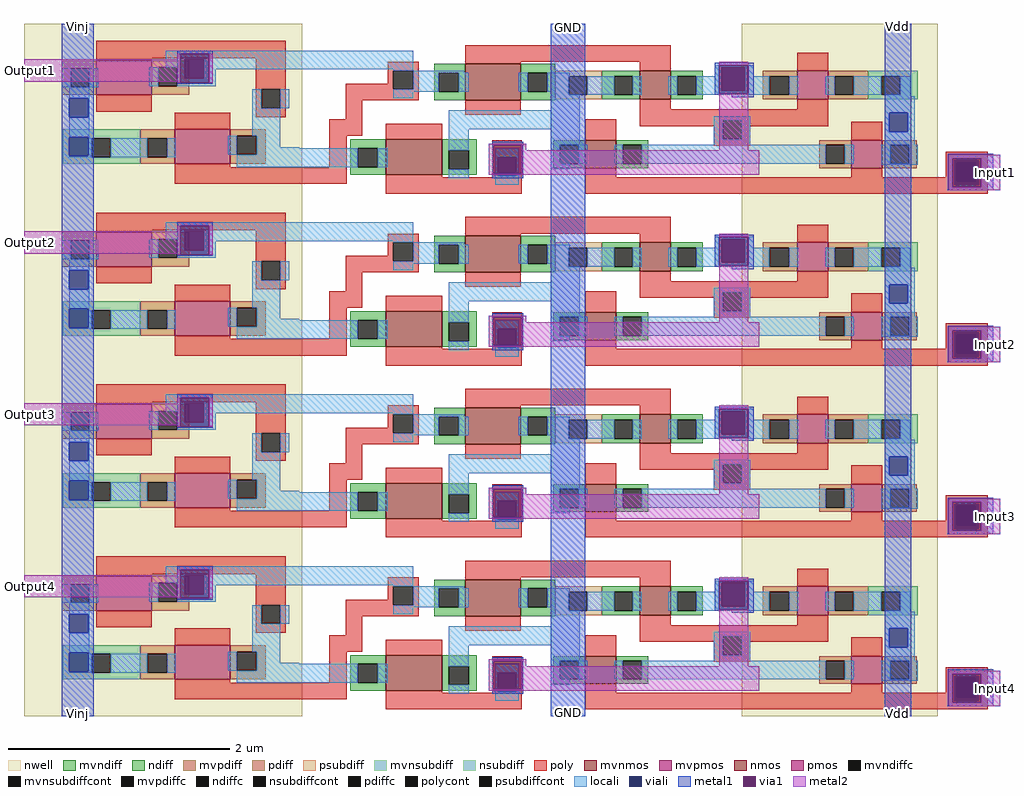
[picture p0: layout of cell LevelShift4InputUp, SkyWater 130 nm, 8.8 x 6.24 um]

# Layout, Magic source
magic
tech sky130A
<< metal1 >>
rect 4 517 33 522
rect 445 515 476 522
rect 746 517 770 522
rect 4 -102 33 -97
rect 445 -102 476 -96
rect 746 -102 770 -97
<< metal2 >>
rect -30 470 -19 490
rect 841 372 850 404
rect -30 315 -19 335
rect 841 217 850 249
rect -30 160 -19 180
rect 841 62 850 94
rect -30 5 -19 25
rect 841 -93 850 -61
use StepUpDigital  StepUpDigital_2
transform 1 0 -49 0 1 403
box 19 -40 899 119
use StepUpDigital  StepUpDigital_1
transform 1 0 -49 0 1 248
box 19 -40 899 119
use StepUpDigital  StepUpDigital_0
transform 1 0 -49 0 1 93
box 19 -40 899 119
use StepUpDigital  StepUpDigital_3
transform 1 0 -49 0 1 -62
box 19 -40 899 119
<< labels >>
rlabel metal2 841 372 850 404 0 Input1
port 1 nsew
rlabel metal2 841 217 850 249 0 Input2
port 2 nsew
rlabel metal2 841 62 850 94 0 Input3
port 3 nsew
rlabel metal2 841 -93 850 -61 0 Input4
port 4 nsew
rlabel metal1 746 517 770 522 0 Vdd
port 5 nsew
rlabel metal1 746 -102 770 -97 0 Vdd
port 5 nsew
rlabel metal1 4 517 33 522 0 Vinj
port 6 nsew
rlabel metal1 4 -102 33 -97 0 Vinj
port 6 nsew
rlabel metal2 -30 470 -19 490 0 Output1
port 7 nsew
rlabel metal2 -30 315 -19 335 0 Output2
port 8 nsew
rlabel metal2 -30 160 -19 180 0 Output3
port 9 nsew
rlabel metal2 -30 5 -19 25 0 Output4
port 10 nsew
rlabel metal1 445 515 476 522 0 GND
port 11 nsew
rlabel metal1 445 -102 476 -96 0 GND
port 11 nsew
<< end >>

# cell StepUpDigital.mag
magic
tech sky130A
<< nwell >>
rect 19 -40 270 119
<< mvpmos >>
rect 84 55 134 86
rect 155 -7 205 24
<< mvpdiff >>
rect 53 79 84 86
rect 53 62 61 79
rect 78 62 84 79
rect 53 55 84 62
rect 134 80 168 86
rect 134 63 140 80
rect 157 63 168 80
rect 134 55 168 63
rect 124 16 155 24
rect 124 -1 130 16
rect 148 -1 155 16
rect 124 -7 155 -1
rect 205 18 237 24
rect 205 1 211 18
rect 229 1 237 18
rect 205 -7 237 1
<< mvpdiffc >>
rect 61 62 78 79
rect 140 63 157 80
rect 130 -1 148 16
rect 211 1 229 18
<< mvnsubdiff >>
rect 54 16 124 24
rect 54 -1 80 16
rect 97 -1 124 16
rect 54 -7 124 -1
<< mvnsubdiffcont >>
rect 80 -1 97 16
<< poly >>
rect 84 88 255 104
rect 84 86 134 88
rect 228 60 255 88
rect 84 40 134 55
rect 228 43 233 60
rect 250 43 255 60
rect 155 24 205 39
rect 228 35 255 43
rect 155 -10 205 -7
rect 155 -25 285 -10
<< polycont >>
rect 233 43 250 60
<< locali >>
rect 147 87 370 95
rect 147 80 164 87
rect 53 62 61 79
rect 78 62 86 79
rect 132 63 140 80
rect 157 70 164 80
rect 181 78 370 87
rect 181 70 192 78
rect 157 63 192 70
rect 60 52 78 62
rect 77 35 78 52
rect 60 17 78 35
rect 225 43 233 60
rect 250 43 258 60
rect 225 18 250 43
rect 77 16 78 17
rect 77 0 80 16
rect 60 -1 80 0
rect 97 -1 130 16
rect 148 -1 156 16
rect 203 1 211 18
rect 229 8 250 18
rect 229 7 267 8
rect 229 1 285 7
rect 211 -10 285 1
<< viali >>
rect 164 70 181 87
rect 60 35 77 52
rect 60 0 77 17
<< metal1 >>
rect 53 52 82 119
rect 157 92 189 95
rect 157 66 160 92
rect 186 66 189 92
rect 157 65 189 66
rect 53 35 60 52
rect 77 35 82 52
rect 53 17 82 35
rect 53 0 60 17
rect 77 0 82 17
rect 53 -40 82 0
<< via1 >>
rect 160 87 186 92
rect 160 70 164 87
rect 164 70 181 87
rect 181 70 186 87
rect 160 66 186 70
<< metal2 >>
rect 157 87 160 92
rect 26 67 160 87
rect 157 66 160 67
rect 186 66 189 92
use StepUpDigitalPart1  StepUpDigitalPart1_0
transform 1 0 7 0 1 0
box 278 -40 892 119
<< labels >>
rlabel metal2 26 67 33 87 0 Output
rlabel metal1 53 111 82 119 0 Vinj
rlabel metal1 53 -40 82 -32 0 Vinj
<< end >>

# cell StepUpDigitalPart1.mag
magic
tech sky130A
<< nwell >>
rect 659 -40 836 119
<< nmos >>
rect 567 51 595 77
rect 518 -11 546 14
<< pmos >>
rect 709 51 737 77
rect 758 -11 786 14
<< mvnmos >>
rect 410 50 460 83
rect 338 -17 389 15
<< ndiff >>
rect 533 72 567 77
rect 533 55 544 72
rect 561 55 567 72
rect 533 51 567 55
rect 595 72 624 77
rect 595 55 601 72
rect 618 55 624 72
rect 595 51 624 55
rect 489 10 518 14
rect 489 -7 495 10
rect 512 -7 518 10
rect 489 -11 518 -7
rect 546 10 575 14
rect 546 -7 552 10
rect 569 -7 575 10
rect 546 -11 575 -7
<< pdiff >>
rect 678 72 709 77
rect 678 55 684 72
rect 702 55 709 72
rect 678 51 709 55
rect 737 72 773 77
rect 737 55 743 72
rect 760 55 773 72
rect 737 51 773 55
rect 729 10 758 14
rect 729 -7 735 10
rect 752 -7 758 10
rect 729 -11 758 -7
rect 786 10 817 14
rect 786 -7 793 10
rect 810 -7 817 10
rect 786 -11 817 -7
<< mvndiff >>
rect 382 75 410 83
rect 382 58 386 75
rect 404 58 410 75
rect 382 50 410 58
rect 460 75 491 83
rect 460 58 466 75
rect 484 58 491 75
rect 460 50 491 58
rect 306 7 338 15
rect 306 -10 313 7
rect 331 -10 338 7
rect 306 -17 338 -10
rect 389 5 420 15
rect 389 -12 395 5
rect 413 -12 420 5
rect 389 -17 420 -12
<< ndiffc >>
rect 544 55 561 72
rect 601 55 618 72
rect 495 -7 512 10
rect 552 -7 569 10
<< pdiffc >>
rect 684 55 702 72
rect 743 55 760 72
rect 735 -7 752 10
rect 793 -7 810 10
<< mvndiffc >>
rect 386 58 404 75
rect 466 58 484 75
rect 313 -10 331 7
rect 395 -12 413 5
<< psubdiff >>
rect 491 72 533 77
rect 491 55 503 72
rect 520 55 533 72
rect 491 51 533 55
<< nsubdiff >>
rect 773 72 818 77
rect 773 55 785 72
rect 802 55 818 72
rect 773 51 818 55
<< psubdiffcont >>
rect 503 55 520 72
<< nsubdiffcont >>
rect 785 55 802 72
<< poly >>
rect 410 85 595 100
rect 340 77 368 85
rect 410 83 460 85
rect 340 65 345 77
rect 302 60 345 65
rect 363 60 368 77
rect 302 50 368 60
rect 567 77 595 85
rect 709 77 737 93
rect 302 33 317 50
rect 410 37 460 50
rect 567 42 595 51
rect 709 42 737 51
rect 287 18 317 33
rect 287 -10 303 18
rect 338 15 389 29
rect 278 -25 303 -10
rect 518 14 546 33
rect 567 32 737 42
rect 567 27 642 32
rect 634 15 642 27
rect 659 27 737 32
rect 659 15 667 27
rect 434 -1 461 14
rect 338 -19 389 -17
rect 434 -18 439 -1
rect 456 -18 461 -1
rect 634 9 667 15
rect 758 14 786 31
rect 843 -6 881 4
rect 434 -19 461 -18
rect 338 -34 461 -19
rect 518 -19 546 -11
rect 758 -19 786 -11
rect 843 -19 853 -6
rect 518 -23 853 -19
rect 870 -23 881 -6
rect 518 -34 881 -23
<< polycont >>
rect 345 60 363 77
rect 642 15 659 32
rect 439 -18 456 -1
rect 853 -23 870 -6
<< locali >>
rect 345 77 363 85
rect 635 80 670 82
rect 363 75 409 77
rect 363 60 386 75
rect 345 58 386 60
rect 404 58 413 75
rect 458 58 466 75
rect 484 72 504 75
rect 635 72 641 80
rect 484 58 503 72
rect 345 52 363 58
rect 487 55 503 58
rect 520 55 544 72
rect 561 55 569 72
rect 593 55 601 72
rect 618 59 641 72
rect 662 72 670 80
rect 662 59 684 72
rect 618 55 684 59
rect 702 55 710 72
rect 735 55 743 72
rect 760 55 785 72
rect 802 55 811 72
rect 487 41 513 55
rect 395 24 513 41
rect 788 54 811 55
rect 788 39 815 54
rect 278 -10 313 7
rect 331 -10 340 7
rect 395 5 413 24
rect 487 10 513 24
rect 634 32 667 36
rect 634 15 642 32
rect 659 15 667 32
rect 634 10 667 15
rect 788 22 792 39
rect 809 22 815 39
rect 788 10 815 22
rect 395 -20 413 -12
rect 437 -1 458 7
rect 437 -18 439 -1
rect 456 -18 458 -1
rect 487 -7 495 10
rect 512 -7 520 10
rect 544 -7 552 10
rect 569 -7 735 10
rect 752 -7 760 10
rect 785 -7 793 10
rect 810 -7 818 10
rect 853 -4 870 2
rect 487 -12 504 -7
rect 785 -8 818 -7
rect 437 -26 458 -18
rect 853 -31 870 -26
<< viali >>
rect 641 59 662 80
rect 792 22 809 39
rect 851 -6 873 -4
rect 851 -23 853 -6
rect 853 -23 870 -6
rect 870 -23 873 -6
rect 851 -26 873 -23
<< metal1 >>
rect 434 10 462 13
rect 434 -16 435 10
rect 461 -16 462 10
rect 434 -20 462 -16
rect 487 -40 518 119
rect 635 82 670 84
rect 635 56 639 82
rect 665 56 670 82
rect 635 55 670 56
rect 650 53 670 55
rect 788 39 812 119
rect 788 22 792 39
rect 809 22 812 39
rect 788 -40 812 22
rect 845 -2 886 2
rect 845 -28 849 -2
rect 875 -28 886 -2
rect 845 -31 886 -28
<< via1 >>
rect 435 -16 461 10
rect 639 80 665 82
rect 639 59 641 80
rect 641 59 662 80
rect 662 59 665 80
rect 639 56 665 59
rect 849 -4 875 -2
rect 849 -26 851 -4
rect 851 -26 873 -4
rect 873 -26 875 -4
rect 849 -28 875 -26
<< metal2 >>
rect 639 82 665 85
rect 431 10 465 11
rect 431 -16 435 10
rect 461 5 465 10
rect 639 5 665 56
rect 461 -16 675 5
rect 431 -17 675 -16
rect 846 -2 892 1
rect 846 -28 849 -2
rect 875 -28 892 -2
rect 846 -31 892 -28
<< labels >>
rlabel metal2 885 -31 892 1 0 Input
rlabel metal1 788 115 812 119 0 Vdd
rlabel metal1 788 -40 812 -36 0 Vdd
rlabel metal1 487 115 518 119 0 GND
rlabel metal1 487 -40 518 -35 0 GND
<< end >>
